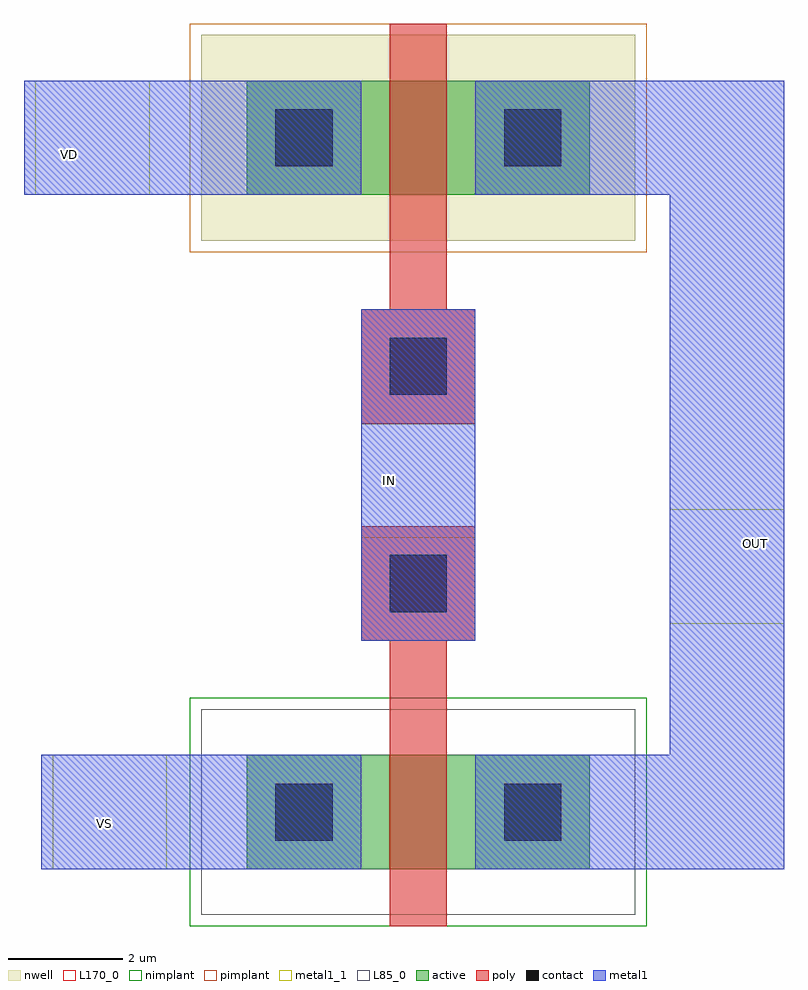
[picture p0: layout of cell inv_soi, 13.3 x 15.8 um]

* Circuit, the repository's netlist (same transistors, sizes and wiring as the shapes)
* +++++++++++++++++++++++++++++++++++++++++++++++++++++++++ *
* CDL Netlist:                                              *
*                                                           *
* Cell Name  : inv_soi                                      *
* Netlisted  : Wed Nov 24 07:27:28 2021                     *
* PVS Version: 16.15-s010 Fri Jun 28 22:24:07 PDT 2019      *
* +++++++++++++++++++++++++++++++++++++++++++++++++++++++++ *
*.LDD
*.DEVTMPLT 0 MN(nmos3) _nmos1v _soi_nd(D) poly_conn(G) _soi_nsb(S) _soi_nsb(B)
*.DEVTMPLT 1 MP(pmos3) _pmos1v _soi_pd(D) poly_conn(G) _soi_psb(S) _soi_psb(B)

* +++++++++++++++++++++++++++++++++++++++++++++++++++++++++ *
* Sub cell: nmos3_CDNS_1                                    *
* +++++++++++++++++++++++++++++++++++++++++++++++++++++++++ *
.subckt nmos3_CDNS_1 2 3 4
** N=4 EP=3 FDC=1
M0 3 2 4 4 nmos3 L=1e-06 W=2e-06 AD=5e-12 AS=0 PD=9e-06 PS=0 fw=2e-06 sa=2e-06 sb=2e-06 $X=7000 $Y=2000 $dt=0
.ends nmos3_CDNS_1

* +++++++++++++++++++++++++++++++++++++++++++++++++++++++++ *
* Sub cell: pmos3_CDNS_2                                    *
* +++++++++++++++++++++++++++++++++++++++++++++++++++++++++ *
.subckt pmos3_CDNS_2 2 3 4
** N=5 EP=3 FDC=1
M0 3 2 4 4 pmos3 L=1e-06 W=2e-06 AD=5e-12 AS=0 PD=9e-06 PS=0 fw=2e-06 sa=2e-06 sb=2e-06 $X=7000 $Y=2000 $dt=1
.ends pmos3_CDNS_2

* +++++++++++++++++++++++++++++++++++++++++++++++++++++++++ *
* Sub cell: inv_soi                                         *
* +++++++++++++++++++++++++++++++++++++++++++++++++++++++++ *
.subckt inv_soi IN OUT VD VS
** N=5 EP=4 FDC=2
X0 IN OUT VS nmos3_CDNS_1 $T=27400 3200 1 180 $X=11400 $Y=3200
X1 IN OUT VD pmos3_CDNS_2 $T=27400 34800 0 180 $X=11400 $Y=20800
.ends inv_soi

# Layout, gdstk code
from math import pi, radians
import gdstk
lib = gdstk.Library(unit=1e-6, precision=5e-10)
def R(c, l, rs):  # rectangles x0, y0, x1, y1
    for r in rs: c.add(gdstk.rectangle(r[:2], r[2:], *l))
active = (1, 0)
nwell = (2, 0)
poly = (3, 0)
nimplant = (4, 0)
pimplant = (5, 0)
contact = (6, 0)
metal1 = (7, 0)
metal1_1 = (7, 1)
L85_0 = (85, 0)
L170_0 = (170, 0)

nmos3_cdns_1 = lib.new_cell('nmos3_CDNS_1')
R(nmos3_cdns_1, active, [(1,1,7,3)])
R(nmos3_cdns_1, poly, [(3.5,0,4.5,5), (3.6,3.5,4.4,3.9), (3,5,5,7)])
R(nmos3_cdns_1, nimplant, [(0,0,8,4)])
R(nmos3_cdns_1, contact, [(1.5,1.5,2.5,2.5), (5.5,1.5,6.5,2.5), (5.5,1.5,6.5,2.5), (3.5,5.5,4.5,6.5)])
R(nmos3_cdns_1, metal1, [(1,1,3,3), (5,1,7,3), (1.3,1.3,2.7,2.7), (5.3,1.3,6.7,2.7), (3,5,5,7), (3.3,5.3,4.7,6.7)])
R(nmos3_cdns_1, L85_0, [(0.2,0.2,7.8,3.8)])
R(nmos3_cdns_1, L170_0, [(4.5,1,7,3)])

pmos3_cdns_2 = lib.new_cell('pmos3_CDNS_2')
R(pmos3_cdns_2, active, [(1,1,7,3)])
R(pmos3_cdns_2, nwell, [(0.2,0.2,7.8,3.8)])
R(pmos3_cdns_2, poly, [(3.5,0,4.5,5), (3.6,3.6,4.4,3.9), (3,5,5,7)])
R(pmos3_cdns_2, pimplant, [(0,0,8,4)])
R(pmos3_cdns_2, contact, [(1.5,1.5,2.5,2.5), (5.5,1.5,6.5,2.5), (5.5,1.5,6.5,2.5), (3.5,5.5,4.5,6.5), (3.5,5.5,4.5,6.5)])
R(pmos3_cdns_2, metal1, [(1,1,3,3), (5,1,7,3), (1.3,1.3,2.7,2.7), (5.3,1.3,6.7,2.7), (3,5,5,7), (3.3,5.3,4.7,6.7)])
R(pmos3_cdns_2, L170_0, [(4.5,1,7,3)])

inv_soi = lib.new_cell('inv_soi')
R(inv_soi, metal1, [(3.1,2.6,8.7,4.6), (8.7,6.6,10.7,12.4), (2.8,14.4,8.7,16.4)])
R(inv_soi, metal1_1, [(3.3,2.6,5.3,4.6), (14.1,6.9,16.1,8.9), (8.7,8.4,10.7,10.4), (3,14.4,5,16.4)])
inv_soi.add(gdstk.FlexPath([(15.1,3.6),(11,3.6)], 2, ends=(1, 0), simple_path=True, layer=7, datatype=0))  # metal1
inv_soi.add(gdstk.FlexPath([(15.1,15.4),(15.1,3.6)], 2, ends="extended", simple_path=True, layer=7, datatype=0))  # metal1
inv_soi.add(gdstk.FlexPath([(12.4,15.4),(15.1,15.4)], 2, ends=(0, 1), simple_path=True, layer=7, datatype=0))  # metal1
inv_soi.add(gdstk.Reference(nmos3_cdns_1, (13.7,1.6), rotation=pi, x_reflection=True))
inv_soi.add(gdstk.Reference(pmos3_cdns_2, (13.7,17.4), rotation=pi))
inv_soi.add(gdstk.Label('IN', (9.2,9.4), layer=7, texttype=3))
inv_soi.add(gdstk.Label('OUT', (15.6,8.3), layer=7, texttype=3))
inv_soi.add(gdstk.Label('VS', (4.2,3.4), layer=7, texttype=3))
inv_soi.add(gdstk.Label('VD', (3.6,15.1), layer=7, texttype=3))
inv_soi.add(gdstk.Label('VS', (4.3,3.6), layer=7, texttype=3))

lib.write_gds('inv_soi.gds')
